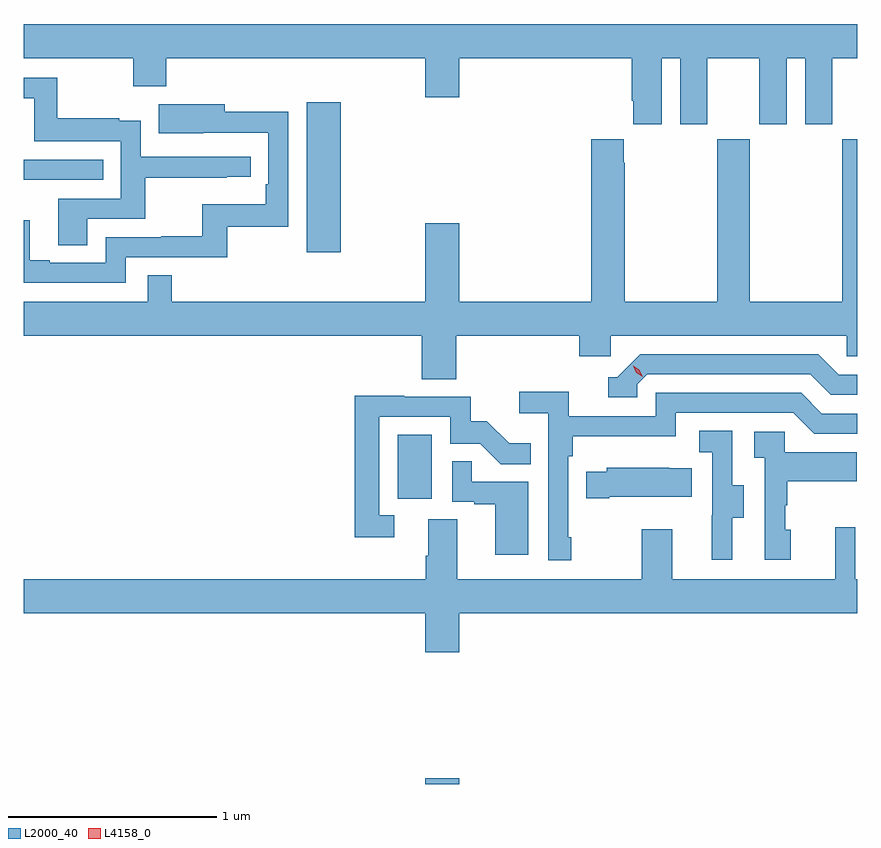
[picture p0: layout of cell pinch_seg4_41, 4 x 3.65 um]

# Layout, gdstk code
import gdstk
lib = gdstk.Library(unit=1e-6, precision=1e-09)
def R(c, l, rs):  # rectangles x0, y0, x1, y1
    for r in rs: c.add(gdstk.rectangle(r[:2], r[2:], *l))
def P(c, l, *ps):  # polygons
    for p in ps: c.add(gdstk.Polygon(p, *l))
L2000_40 = (2000, 40)
L4158_0 = (4158, 0)

pinch_seg4_41 = lib.new_cell('pinch_seg4_41')
R(pinch_seg4_41, L2000_40, [(1142.03,818.644,1142.194,818.671), (1141.898,820.014,1142.062,820.321), (1141.463,821.196,1141.624,821.917), (1140.104,821.544,1140.485,821.64)])
P(pinch_seg4_41, L2000_40, [(1143.166,822.128),(1143.254,822.128),(1143.254,821.811),(1143.385,821.811),(1143.385,822.128),(1143.635,822.128),(1143.635,821.811),(1143.766,821.811),(1143.766,822.128),(1143.854,822.128),(1143.854,821.811),(1143.985,821.811),(1143.985,822.128),(1144.104,822.128),(1144.104,822.292),(1140.104,822.292),(1140.104,822.128),(1140.628,822.128),(1140.628,821.993),(1140.788,821.993),(1140.788,822.128),(1142.03,822.128),(1142.03,821.94),(1142.194,821.94),(1142.194,822.128),(1143.023,822.128),(1143.023,821.923),(1143.029,821.923),(1143.029,821.811),(1143.166,821.811)],
  [(1140.409,821.358),(1140.686,821.358),(1140.686,821.554),(1141.079,821.554),(1141.079,821.559),(1141.192,821.559),(1141.192,821.655),(1140.666,821.655),(1140.666,821.827),(1140.563,821.827),(1140.563,821.839),(1140.265,821.839),(1140.265,822.033),(1140.104,822.033),(1140.104,821.936),(1140.154,821.936),(1140.154,821.73),(1140.57,821.73),(1140.57,821.454),(1140.269,821.454),(1140.269,821.23),(1140.409,821.23)],
  [(1140.594,821.172),(1141.081,821.172),(1141.081,821.319),(1141.374,821.319),(1141.374,821.87),(1141.069,821.87),(1141.069,821.908),(1140.751,821.908),(1140.751,821.768),(1140.965,821.768),(1140.965,821.769),(1141.278,821.769),(1141.278,821.524),(1141.265,821.524),(1141.265,821.428),(1140.96,821.428),(1140.96,821.273),(1140.763,821.273),(1140.763,821.268),(1140.498,821.268),(1140.498,821.145),(1140.229,821.145),(1140.229,821.158),(1140.133,821.158),(1140.133,821.351),(1140.104,821.351),(1140.104,821.049),(1140.594,821.049)],
  [(1142.18,820.796),(1142.771,820.796),(1142.771,820.698),(1142.922,820.698),(1142.922,820.796),(1144.053,820.796),(1144.053,820.698),(1144.104,820.698),(1144.104,821.74),(1144.033,821.74),(1144.033,820.96),(1143.588,820.96),(1143.588,821.74),(1143.433,821.74),(1143.433,820.96),(1142.988,820.96),(1142.988,821.627),(1142.983,821.627),(1142.983,821.74),(1142.828,821.74),(1142.828,820.96),(1142.194,820.96),(1142.194,821.335),(1142.03,821.335),(1142.03,820.96),(1140.815,820.96),(1140.815,821.087),(1140.699,821.087),(1140.699,820.96),(1140.104,820.96),(1140.104,820.796),(1142.015,820.796),(1142.015,820.588),(1142.18,820.588)],
  [(1143.048,820.563),(1143.096,820.611),(1143.879,820.611),(1143.978,820.512),(1144.104,820.512),(1144.104,820.608),(1144.015,820.608),(1143.916,820.707),(1143.063,820.707),(1142.952,820.596),(1142.909,820.596),(1142.909,820.5),(1143.048,820.5)],
  [(1142.731,819.829),(1142.718,819.829),(1142.718,820.217),(1142.738,820.217),(1142.738,820.313),(1143.234,820.313),(1143.234,820.425),(1143.798,820.425),(1143.897,820.326),(1144.104,820.326),(1144.104,820.422),(1143.934,820.422),(1143.835,820.521),(1143.138,820.521),(1143.138,820.41),(1142.72,820.41),(1142.72,820.526),(1142.481,820.526),(1142.481,820.424),(1142.622,820.424),(1142.622,819.717),(1142.731,819.717)],
  [(1141.882,819.933),(1141.809,819.933),(1141.809,820.407),(1142.151,820.407),(1142.151,820.278),(1142.295,820.278),(1142.393,820.18),(1142.537,820.18),(1142.537,820.279),(1142.433,820.279),(1142.326,820.386),(1142.25,820.386),(1142.25,820.503),(1141.931,820.503),(1141.931,820.508),(1141.693,820.508),(1141.693,819.828),(1141.882,819.828)],
  [(1143.505,819.922),(1143.559,819.922),(1143.559,820.077),(1143.504,820.077),(1143.504,820.34),(1143.345,820.34),(1143.345,820.237),(1143.408,820.237),(1143.408,819.933),(1143.407,819.933),(1143.407,819.72),(1143.505,819.72)],
  [(1143.784,819.864),(1143.759,819.864),(1143.759,819.983),(1143.769,819.983),(1143.769,820.097),(1144.103,820.097),(1144.103,820.237),(1143.756,820.237),(1143.756,820.335),(1143.609,820.335),(1143.609,820.211),(1143.66,820.211),(1143.66,819.72),(1143.784,819.72)],
  [(1142.524,820.095),(1142.255,820.095),(1142.255,820.193),(1142.16,820.193),(1142.16,819.999),(1142.267,819.999),(1142.267,819.987),(1142.366,819.987),(1142.366,819.744),(1142.524,819.744)],
  [(1142.914,820.022),(1143.311,820.022),(1143.311,820.159),(1143.203,820.159),(1143.203,820.162),(1142.901,820.162),(1142.901,820.144),(1142.803,820.144),(1142.803,820.015),(1142.914,820.015)],
  [(1142.194,819.464),(1144.104,819.464),(1144.104,819.628),(1144.095,819.628),(1144.095,819.877),(1143.998,819.877),(1143.998,819.628),(1143.217,819.628),(1143.217,819.868),(1143.07,819.868),(1143.07,819.628),(1142.185,819.628),(1142.185,819.914),(1142.045,819.914),(1142.045,819.74),(1142.033,819.74),(1142.033,819.628),(1140.104,819.628),(1140.104,819.464),(1142.03,819.464),(1142.03,819.276),(1142.194,819.276)])
P(pinch_seg4_41, L4158_0, [(1143.074,820.599),(1143.043,820.618),(1143.028,820.651),(1143.028,820.651),(1143.028,820.651),(1143.058,820.632),(1143.074,820.599),(1143.074,820.599)])

lib.write_gds('pinch_seg4_41.gds')
